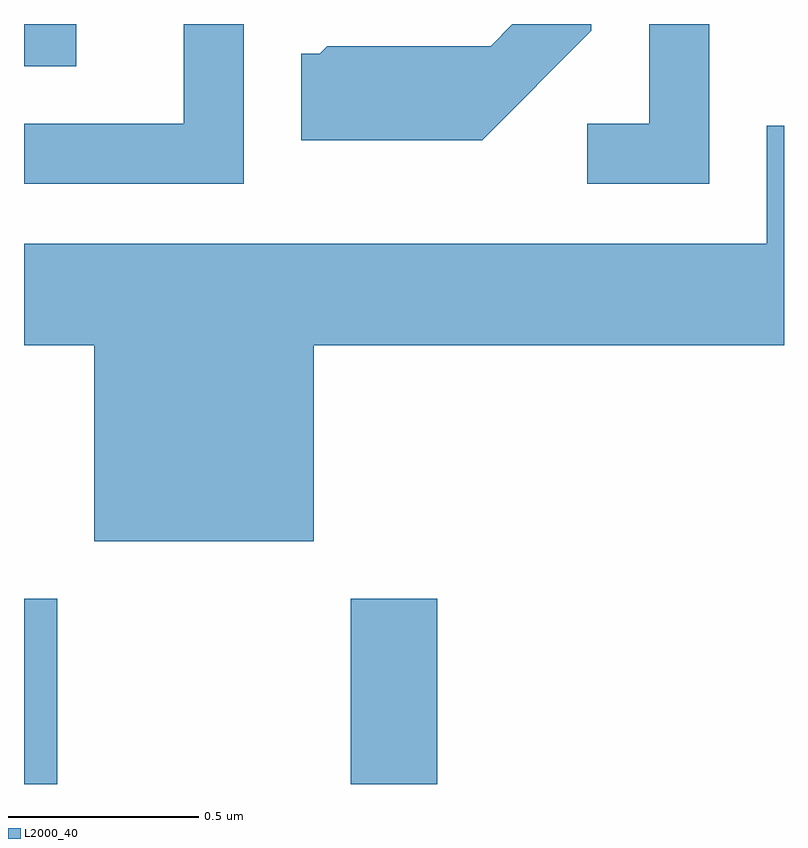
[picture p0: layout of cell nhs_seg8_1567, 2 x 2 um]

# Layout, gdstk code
import gdstk
lib = gdstk.Library(unit=1e-6, precision=1e-09)
def R(c, l, rs):  # rectangles x0, y0, x1, y1
    for r in rs: c.add(gdstk.rectangle(r[:2], r[2:], *l))
def P(c, l, *ps):  # polygons
    for p in ps: c.add(gdstk.Polygon(p, *l))
L2000_40 = (2000, 40)

nhs_seg8_1567 = lib.new_cell('nhs_seg8_1567')
R(nhs_seg8_1567, L2000_40, [(196.611,1866.342,196.699,1866.829), (197.471,1866.342,197.699,1866.829), (196.611,1868.231,196.748,1868.342)])
P(nhs_seg8_1567, L2000_40, [(198.104,1868.324),(198.104,1868.342),(197.896,1868.342),(197.839,1868.284),(197.409,1868.284),(197.389,1868.264),(197.341,1868.264),(197.341,1868.036),(197.817,1868.036)],
  [(198.414,1868.342),(198.256,1868.342),(198.256,1868.079),(198.093,1868.079),(198.093,1867.921),(198.414,1867.921)],
  [(197.189,1868.342),(197.031,1868.342),(197.031,1868.079),(196.611,1868.079),(196.611,1867.921),(197.189,1867.921)],
  [(197.374,1867.496),(198.611,1867.496),(198.611,1868.074),(198.566,1868.074),(198.566,1867.764),(196.611,1867.764),(196.611,1867.496),(196.796,1867.496),(196.796,1866.981),(197.374,1866.981)])

lib.write_gds('nhs_seg8_1567.gds')
